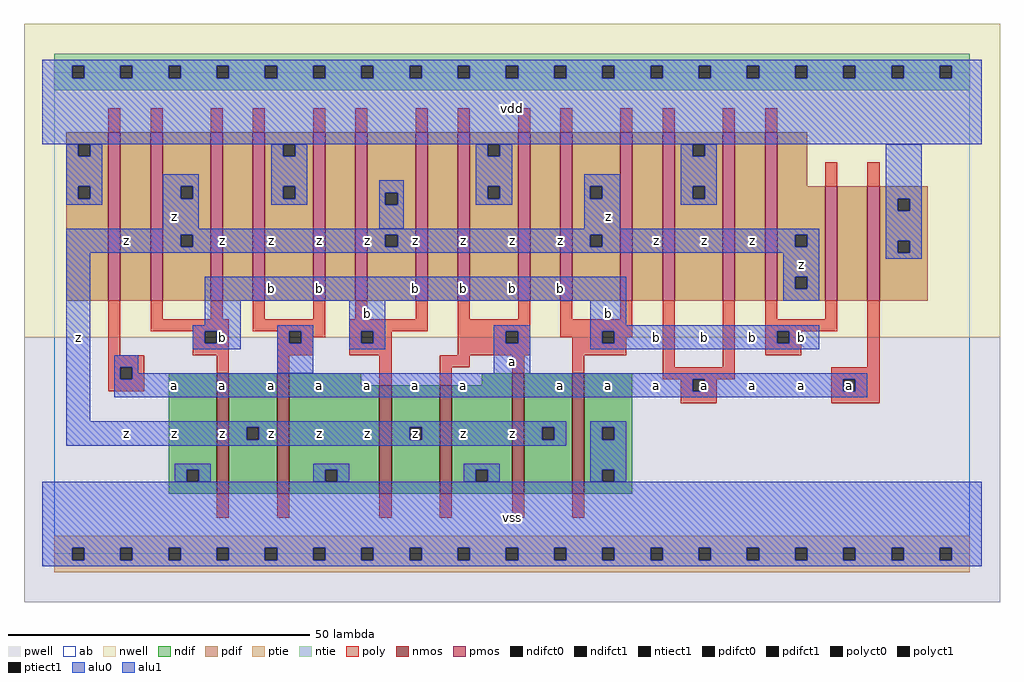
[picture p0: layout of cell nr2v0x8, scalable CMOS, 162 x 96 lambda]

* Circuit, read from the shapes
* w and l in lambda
.subckt nr2v0x8 a b vdd vss z
M1 z b vss vss nfet w=20 l=2 m=2
M2 vss a z vss nfet w=20 l=2 m=2
M3 z b vss vss nfet w=18 l=2
M4 vss a z vss nfet w=18 l=2
M5 n1 a vdd vdd pfet w=28 l=2
M6 z b n1 vdd pfet w=28 l=2
M7 n2 b z vdd pfet w=28 l=2
M8 vdd a n2 vdd pfet w=28 l=2
M9 n3 a vdd vdd pfet w=28 l=2
M10 z b n3 vdd pfet w=28 l=2
M11 n4 b z vdd pfet w=28 l=2
M12 vdd a n4 vdd pfet w=28 l=2
M13 n5 a vdd vdd pfet w=28 l=2
M14 z b n5 vdd pfet w=28 l=2
M15 n6 b z vdd pfet w=28 l=2
M16 vdd a n6 vdd pfet w=28 l=2
M17 n7 a vdd vdd pfet w=28 l=2
M18 z b n7 vdd pfet w=28 l=2
M19 n8 b z vdd pfet w=19 l=2
M20 vdd a n8 vdd pfet w=19 l=2
.ends

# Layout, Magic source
magic
tech scmos
<< ab >>
rect 0 0 152 80
<< nwell >>
rect -5 36 157 88
<< pwell >>
rect -5 -8 157 36
<< poly >>
rect 9 70 11 74
rect 16 70 18 74
rect 26 70 28 74
rect 33 70 35 74
rect 43 70 45 74
rect 50 70 52 74
rect 60 70 62 74
rect 67 70 69 74
rect 77 70 79 74
rect 84 70 86 74
rect 94 70 96 74
rect 101 70 103 74
rect 111 70 113 74
rect 118 70 120 74
rect 128 61 130 65
rect 135 61 137 65
rect 9 33 11 42
rect 16 39 18 42
rect 26 39 28 42
rect 33 39 35 42
rect 43 39 45 42
rect 50 39 52 42
rect 60 39 62 42
rect 16 37 29 39
rect 33 37 45 39
rect 23 35 25 37
rect 27 35 29 37
rect 23 33 29 35
rect 9 31 15 33
rect 9 29 11 31
rect 13 29 15 31
rect 27 30 29 33
rect 37 35 39 37
rect 41 36 45 37
rect 49 37 62 39
rect 67 39 69 42
rect 77 39 79 42
rect 67 37 79 39
rect 41 35 43 36
rect 37 33 43 35
rect 49 35 51 37
rect 53 35 56 37
rect 49 33 56 35
rect 67 35 75 37
rect 77 35 79 37
rect 84 39 86 42
rect 94 39 96 42
rect 84 37 96 39
rect 84 36 91 37
rect 67 33 79 35
rect 86 35 91 36
rect 93 36 96 37
rect 93 35 95 36
rect 86 33 95 35
rect 37 30 39 33
rect 9 27 15 29
rect 54 28 56 33
rect 64 31 69 33
rect 64 28 66 31
rect 76 30 78 33
rect 86 30 88 33
rect 101 31 103 42
rect 111 31 113 42
rect 118 39 120 42
rect 128 39 130 42
rect 118 37 130 39
rect 118 35 120 37
rect 122 35 124 37
rect 118 33 124 35
rect 135 31 137 42
rect 101 29 113 31
rect 129 29 137 31
rect 104 27 106 29
rect 108 27 110 29
rect 104 25 110 27
rect 129 27 131 29
rect 133 27 137 29
rect 129 25 137 27
rect 27 6 29 10
rect 37 6 39 10
rect 54 6 56 10
rect 64 6 66 10
rect 76 6 78 10
rect 86 6 88 10
<< ndif >>
rect 19 14 27 30
rect 19 12 22 14
rect 24 12 27 14
rect 19 10 27 12
rect 29 21 37 30
rect 29 19 32 21
rect 34 19 37 21
rect 29 10 37 19
rect 39 28 51 30
rect 71 28 76 30
rect 39 14 54 28
rect 39 12 45 14
rect 47 12 54 14
rect 39 10 54 12
rect 56 21 64 28
rect 56 19 59 21
rect 61 19 64 21
rect 56 10 64 19
rect 66 14 76 28
rect 66 12 70 14
rect 72 12 76 14
rect 66 10 76 12
rect 78 21 86 30
rect 78 19 81 21
rect 83 19 86 21
rect 78 10 86 19
rect 88 21 96 30
rect 88 19 91 21
rect 93 19 96 21
rect 88 14 96 19
rect 88 12 91 14
rect 93 12 96 14
rect 88 10 96 12
<< pdif >>
rect 2 68 9 70
rect 2 66 4 68
rect 6 66 9 68
rect 2 61 9 66
rect 2 59 4 61
rect 6 59 9 61
rect 2 42 9 59
rect 11 42 16 70
rect 18 61 26 70
rect 18 59 21 61
rect 23 59 26 61
rect 18 53 26 59
rect 18 51 21 53
rect 23 51 26 53
rect 18 42 26 51
rect 28 42 33 70
rect 35 68 43 70
rect 35 66 38 68
rect 40 66 43 68
rect 35 61 43 66
rect 35 59 38 61
rect 40 59 43 61
rect 35 42 43 59
rect 45 42 50 70
rect 52 60 60 70
rect 52 58 55 60
rect 57 58 60 60
rect 52 53 60 58
rect 52 51 55 53
rect 57 51 60 53
rect 52 42 60 51
rect 62 42 67 70
rect 69 68 77 70
rect 69 66 72 68
rect 74 66 77 68
rect 69 61 77 66
rect 69 59 72 61
rect 74 59 77 61
rect 69 42 77 59
rect 79 42 84 70
rect 86 61 94 70
rect 86 59 89 61
rect 91 59 94 61
rect 86 53 94 59
rect 86 51 89 53
rect 91 51 94 53
rect 86 42 94 51
rect 96 42 101 70
rect 103 68 111 70
rect 103 66 106 68
rect 108 66 111 68
rect 103 61 111 66
rect 103 59 106 61
rect 108 59 111 61
rect 103 42 111 59
rect 113 42 118 70
rect 120 61 125 70
rect 120 53 128 61
rect 120 51 123 53
rect 125 51 128 53
rect 120 46 128 51
rect 120 44 123 46
rect 125 44 128 46
rect 120 42 128 44
rect 130 42 135 61
rect 137 59 145 61
rect 137 57 140 59
rect 142 57 145 59
rect 137 52 145 57
rect 137 50 140 52
rect 142 50 145 52
rect 137 42 145 50
<< alu1 >>
rect -2 81 154 82
rect -2 79 3 81
rect 5 79 11 81
rect 13 79 19 81
rect 21 79 27 81
rect 29 79 35 81
rect 37 79 43 81
rect 45 79 51 81
rect 53 79 59 81
rect 61 79 67 81
rect 69 79 75 81
rect 77 79 83 81
rect 85 79 91 81
rect 93 79 99 81
rect 101 79 107 81
rect 109 79 115 81
rect 117 79 123 81
rect 125 79 131 81
rect 133 79 139 81
rect 141 79 147 81
rect 149 79 154 81
rect -2 68 154 79
rect 18 61 24 63
rect 18 59 21 61
rect 23 59 24 61
rect 18 54 24 59
rect 88 61 94 63
rect 88 59 89 61
rect 91 59 94 61
rect 88 54 94 59
rect 2 53 127 54
rect 2 51 21 53
rect 23 51 55 53
rect 57 51 89 53
rect 91 51 123 53
rect 125 51 127 53
rect 2 50 127 51
rect 2 22 6 50
rect 121 46 127 50
rect 25 42 95 46
rect 121 44 123 46
rect 125 44 127 46
rect 121 42 127 44
rect 25 38 31 42
rect 23 37 31 38
rect 23 35 25 37
rect 27 35 31 37
rect 23 34 31 35
rect 10 31 14 33
rect 10 29 11 31
rect 13 30 14 31
rect 49 37 55 42
rect 89 38 95 42
rect 49 35 51 37
rect 53 35 55 37
rect 49 34 55 35
rect 73 37 79 38
rect 73 35 75 37
rect 77 35 79 37
rect 73 30 79 35
rect 89 37 127 38
rect 89 35 91 37
rect 93 35 120 37
rect 122 35 127 37
rect 89 34 127 35
rect 13 29 135 30
rect 10 27 106 29
rect 108 27 131 29
rect 133 27 135 29
rect 10 26 135 27
rect 2 21 85 22
rect 2 19 32 21
rect 34 19 59 21
rect 61 19 81 21
rect 83 19 85 21
rect 2 18 85 19
rect -2 1 154 12
rect -2 -1 3 1
rect 5 -1 11 1
rect 13 -1 19 1
rect 21 -1 27 1
rect 29 -1 35 1
rect 37 -1 43 1
rect 45 -1 51 1
rect 53 -1 59 1
rect 61 -1 67 1
rect 69 -1 75 1
rect 77 -1 83 1
rect 85 -1 91 1
rect 93 -1 99 1
rect 101 -1 107 1
rect 109 -1 115 1
rect 117 -1 123 1
rect 125 -1 131 1
rect 133 -1 139 1
rect 141 -1 147 1
rect 149 -1 154 1
rect -2 -2 154 -1
<< ptie >>
rect 0 1 152 3
rect 0 -1 3 1
rect 5 -1 11 1
rect 13 -1 19 1
rect 21 -1 27 1
rect 29 -1 35 1
rect 37 -1 43 1
rect 45 -1 51 1
rect 53 -1 59 1
rect 61 -1 67 1
rect 69 -1 75 1
rect 77 -1 83 1
rect 85 -1 91 1
rect 93 -1 99 1
rect 101 -1 107 1
rect 109 -1 115 1
rect 117 -1 123 1
rect 125 -1 131 1
rect 133 -1 139 1
rect 141 -1 147 1
rect 149 -1 152 1
rect 0 -3 152 -1
<< ntie >>
rect 0 81 152 83
rect 0 79 3 81
rect 5 79 11 81
rect 13 79 19 81
rect 21 79 27 81
rect 29 79 35 81
rect 37 79 43 81
rect 45 79 51 81
rect 53 79 59 81
rect 61 79 67 81
rect 69 79 75 81
rect 77 79 83 81
rect 85 79 91 81
rect 93 79 99 81
rect 101 79 107 81
rect 109 79 115 81
rect 117 79 123 81
rect 125 79 131 81
rect 133 79 139 81
rect 141 79 147 81
rect 149 79 152 81
rect 0 77 152 79
<< nmos >>
rect 27 10 29 30
rect 37 10 39 30
rect 54 10 56 28
rect 64 10 66 28
rect 76 10 78 30
rect 86 10 88 30
<< pmos >>
rect 9 42 11 70
rect 16 42 18 70
rect 26 42 28 70
rect 33 42 35 70
rect 43 42 45 70
rect 50 42 52 70
rect 60 42 62 70
rect 67 42 69 70
rect 77 42 79 70
rect 84 42 86 70
rect 94 42 96 70
rect 101 42 103 70
rect 111 42 113 70
rect 118 42 120 70
rect 128 42 130 61
rect 135 42 137 61
<< polyct0 >>
rect 39 35 41 37
<< polyct1 >>
rect 25 35 27 37
rect 11 29 13 31
rect 51 35 53 37
rect 75 35 77 37
rect 91 35 93 37
rect 120 35 122 37
rect 106 27 108 29
rect 131 27 133 29
<< ndifct0 >>
rect 22 12 24 14
rect 45 12 47 14
rect 70 12 72 14
rect 91 19 93 21
rect 91 12 93 14
<< ndifct1 >>
rect 32 19 34 21
rect 59 19 61 21
rect 81 19 83 21
<< ntiect1 >>
rect 3 79 5 81
rect 11 79 13 81
rect 19 79 21 81
rect 27 79 29 81
rect 35 79 37 81
rect 43 79 45 81
rect 51 79 53 81
rect 59 79 61 81
rect 67 79 69 81
rect 75 79 77 81
rect 83 79 85 81
rect 91 79 93 81
rect 99 79 101 81
rect 107 79 109 81
rect 115 79 117 81
rect 123 79 125 81
rect 131 79 133 81
rect 139 79 141 81
rect 147 79 149 81
<< ptiect1 >>
rect 3 -1 5 1
rect 11 -1 13 1
rect 19 -1 21 1
rect 27 -1 29 1
rect 35 -1 37 1
rect 43 -1 45 1
rect 51 -1 53 1
rect 59 -1 61 1
rect 67 -1 69 1
rect 75 -1 77 1
rect 83 -1 85 1
rect 91 -1 93 1
rect 99 -1 101 1
rect 107 -1 109 1
rect 115 -1 117 1
rect 123 -1 125 1
rect 131 -1 133 1
rect 139 -1 141 1
rect 147 -1 149 1
<< pdifct0 >>
rect 4 66 6 68
rect 4 59 6 61
rect 38 66 40 68
rect 38 59 40 61
rect 55 58 57 60
rect 72 66 74 68
rect 72 59 74 61
rect 106 66 108 68
rect 106 59 108 61
rect 140 57 142 59
rect 140 50 142 52
<< pdifct1 >>
rect 21 59 23 61
rect 21 51 23 53
rect 55 51 57 53
rect 89 59 91 61
rect 89 51 91 53
rect 123 51 125 53
rect 123 44 125 46
<< alu0 >>
rect 2 66 4 68
rect 6 66 8 68
rect 2 61 8 66
rect 36 66 38 68
rect 40 66 42 68
rect 2 59 4 61
rect 6 59 8 61
rect 2 58 8 59
rect 36 61 42 66
rect 70 66 72 68
rect 74 66 76 68
rect 36 59 38 61
rect 40 59 42 61
rect 36 58 42 59
rect 54 60 58 62
rect 54 58 55 60
rect 57 58 58 60
rect 70 61 76 66
rect 104 66 106 68
rect 108 66 110 68
rect 70 59 72 61
rect 74 59 76 61
rect 70 58 76 59
rect 54 54 58 58
rect 104 61 110 66
rect 104 59 106 61
rect 108 59 110 61
rect 104 58 110 59
rect 138 59 144 68
rect 138 57 140 59
rect 142 57 144 59
rect 138 52 144 57
rect 138 50 140 52
rect 142 50 144 52
rect 138 49 144 50
rect 37 37 43 38
rect 37 35 39 37
rect 41 35 43 37
rect 37 30 43 35
rect 89 21 95 22
rect 89 19 91 21
rect 93 19 95 21
rect 20 14 26 15
rect 20 12 22 14
rect 24 12 26 14
rect 43 14 49 15
rect 43 12 45 14
rect 47 12 49 14
rect 68 14 74 15
rect 68 12 70 14
rect 72 12 74 14
rect 89 14 95 19
rect 89 12 91 14
rect 93 12 95 14
<< labels >>
rlabel alu1 20 28 20 28 6 a
rlabel alu1 20 20 20 20 6 z
rlabel alu1 12 20 12 20 6 z
rlabel alu1 4 36 4 36 6 z
rlabel alu1 12 52 12 52 6 z
rlabel alu1 20 56 20 56 6 z
rlabel alu1 28 28 28 28 6 a
rlabel alu1 28 20 28 20 6 z
rlabel alu1 52 28 52 28 6 a
rlabel alu1 52 20 52 20 6 z
rlabel alu1 44 28 44 28 6 a
rlabel alu1 44 20 44 20 6 z
rlabel alu1 36 28 36 28 6 a
rlabel alu1 36 20 36 20 6 z
rlabel alu1 28 36 28 36 6 b
rlabel alu1 52 40 52 40 6 b
rlabel alu1 44 44 44 44 6 b
rlabel alu1 36 44 36 44 6 b
rlabel alu1 52 52 52 52 6 z
rlabel alu1 44 52 44 52 6 z
rlabel alu1 36 52 36 52 6 z
rlabel alu1 28 52 28 52 6 z
rlabel alu1 76 6 76 6 6 vss
rlabel alu1 60 28 60 28 6 a
rlabel ndifct1 60 20 60 20 6 z
rlabel alu1 84 28 84 28 6 a
rlabel alu1 76 20 76 20 6 z
rlabel alu1 68 28 68 28 6 a
rlabel alu1 68 20 68 20 6 z
rlabel alu1 76 32 76 32 6 a
rlabel alu1 60 44 60 44 6 b
rlabel alu1 84 44 84 44 6 b
rlabel alu1 76 44 76 44 6 b
rlabel alu1 68 44 68 44 6 b
rlabel alu1 84 52 84 52 6 z
rlabel alu1 76 52 76 52 6 z
rlabel alu1 68 52 68 52 6 z
rlabel alu1 60 52 60 52 6 z
rlabel alu1 76 74 76 74 6 vdd
rlabel alu1 92 28 92 28 6 a
rlabel alu1 116 28 116 28 6 a
rlabel alu1 108 28 108 28 6 a
rlabel alu1 100 28 100 28 6 a
rlabel alu1 92 40 92 40 6 b
rlabel alu1 116 36 116 36 6 b
rlabel alu1 108 36 108 36 6 b
rlabel alu1 100 36 100 36 6 b
rlabel alu1 116 52 116 52 6 z
rlabel alu1 108 52 108 52 6 z
rlabel alu1 100 52 100 52 6 z
rlabel alu1 92 56 92 56 6 z
rlabel alu1 124 28 124 28 6 a
rlabel polyct1 132 28 132 28 6 a
rlabel alu1 124 36 124 36 6 b
rlabel alu1 124 48 124 48 6 z
<< end >>
